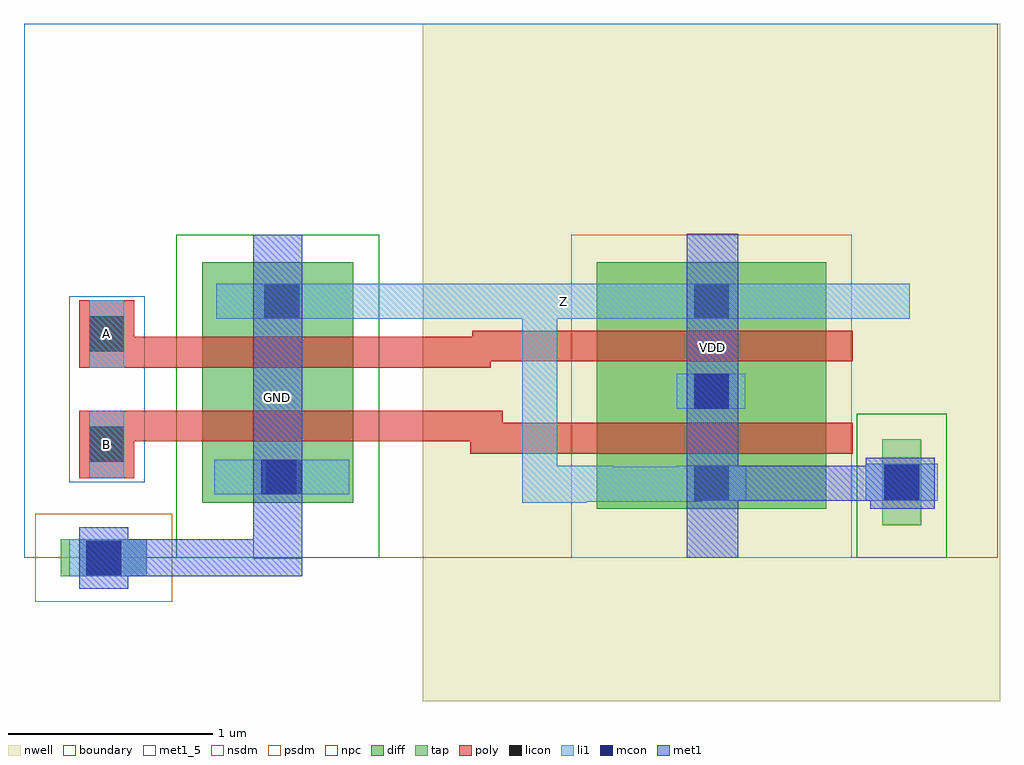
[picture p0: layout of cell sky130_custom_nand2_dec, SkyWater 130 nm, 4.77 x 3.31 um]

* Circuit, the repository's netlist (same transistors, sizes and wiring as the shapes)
* NGSPICE file created from sky130_fd_bd_sram__openram_sp_custom_nand2_dec.ext - technology: sky130A

.subckt sky130_custom_nand2_dec A B Z VDD GND
X0 Z A VDD VDD sky130_fd_pr__pfet_01v8 w=1.12 l=0.15
X1 VDD B Z VDD sky130_fd_pr__pfet_01v8 w=1.12 l=0.15
X2 a_196_224# B GND GND sky130_fd_pr__nfet_01v8 w=0.74 l=0.15
X3 Z A a_196_224# GND sky130_fd_pr__nfet_01v8 w=0.74 l=0.15
.ends

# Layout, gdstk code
import gdstk
lib = gdstk.Library(unit=1e-6, precision=1e-09)
def R(c, l, rs):  # rectangles x0, y0, x1, y1
    for r in rs: c.add(gdstk.rectangle(r[:2], r[2:], *l))
nwell = (64, 20)
diff = (65, 20)
tap = (65, 44)
poly = (66, 20)
licon = (66, 44)
li1 = (67, 20)
mcon = (67, 44)
met1_5 = (68, 5)
met1 = (68, 20)
nsdm = (93, 44)
psdm = (94, 20)
npc = (95, 20)
boundary = (235, 4)

sky130_custom_nand2_dec = lib.new_cell('sky130_custom_nand2_dec')
R(sky130_custom_nand2_dec, nwell, [(1.95,-0.7,4.77,2.61)])
R(sky130_custom_nand2_dec, diff, [(2.8,0.24,3.92,1.445), (0.87,0.27,1.61,1.445)])
R(sky130_custom_nand2_dec, tap, [(0.18,-0.09,0.6,0.09), (4.195,0.16,4.385,0.58)])
R(sky130_custom_nand2_dec, poly, [(0.27,0.39,0.54,0.57), (2.18,0.51,4.05,0.57), (0.27,0.57,4.05,0.66), (0.27,0.66,2.34,0.72), (0.27,0.93,2.28,0.96), (0.27,0.96,4.05,1.08), (0.27,1.08,0.54,1.26), (2.19,1.08,4.05,1.11)])
R(sky130_custom_nand2_dec, licon, [(0.305,-0.085,0.475,0.085), (3.275,0.28,3.445,0.45), (4.205,0.285,4.375,0.455), (1.185,0.31,1.355,0.48), (0.32,0.47,0.49,0.64), (3.275,0.73,3.445,0.9), (0.32,1.01,0.49,1.18), (1.175,1.17,1.345,1.34), (3.275,1.17,3.445,1.34)])
R(sky130_custom_nand2_dec, li1, [(0.22,-0.09,0.6,0.09), (2.435,0.27,2.75,0.275), (2.435,0.275,3.315,0.28), (2.435,0.28,3.53,0.445), (4.115,0.28,4.465,0.46), (0.93,0.31,1.59,0.48), (0.32,0.39,0.49,0.72), (2.435,0.445,2.88,0.45), (3.19,0.445,3.53,0.45), (2.435,0.45,2.605,1.17), (3.19,0.73,3.525,0.9), (0.32,0.93,0.49,1.26), (0.94,1.17,4.33,1.34)])
R(sky130_custom_nand2_dec, mcon, [(0.305,-0.085,0.475,0.085), (4.205,0.285,4.375,0.455), (1.16,0.31,1.33,0.48), (3.275,0.73,3.445,0.9)])
R(sky130_custom_nand2_dec, met1_5, [(1.12,-0.005,1.36,1.58), (3.24,0.45,3.49,1.585)])
R(sky130_custom_nand2_dec, met1, [(0.27,-0.15,0.51,-0.09), (0.27,-0.09,1.36,0.09), (3.24,0,3.49,0.28), (0.27,0.09,0.51,0.15), (1.12,0.09,1.36,1.58), (4.135,0.24,4.45,0.28), (3.24,0.28,4.45,0.45), (3.24,0.45,3.49,1.585), (4.115,0.45,4.45,0.49)])
R(sky130_custom_nand2_dec, nsdm, [(0.745,0,1.735,1.58), (4.07,0,4.51,0.705)])
R(sky130_custom_nand2_dec, psdm, [(0.055,-0.215,0.725,0.215), (2.675,0,4.045,1.58)])
R(sky130_custom_nand2_dec, npc, [(0.22,0.37,0.59,1.28)])
R(sky130_custom_nand2_dec, boundary, [(0,0,4.76,2.61)])
sky130_custom_nand2_dec.add(gdstk.Label('GND', (1.24,0.782), layer=68, texttype=5))
sky130_custom_nand2_dec.add(gdstk.Label('VDD', (3.365,1.03), layer=68, texttype=5))
sky130_custom_nand2_dec.add(gdstk.Label('vdd', (3.365,1.03), layer=68, texttype=5))
sky130_custom_nand2_dec.add(gdstk.Label('gnd', (1.24,0.78), layer=68, texttype=5))
sky130_custom_nand2_dec.add(gdstk.Label('A', (0.405,1.095), layer=67, texttype=5))
sky130_custom_nand2_dec.add(gdstk.Label('B', (0.405,0.555), layer=67, texttype=5))
sky130_custom_nand2_dec.add(gdstk.Label('Z', (2.635,1.255), layer=67, texttype=5))

lib.write_gds('sky130_custom_nand2_dec.gds')
